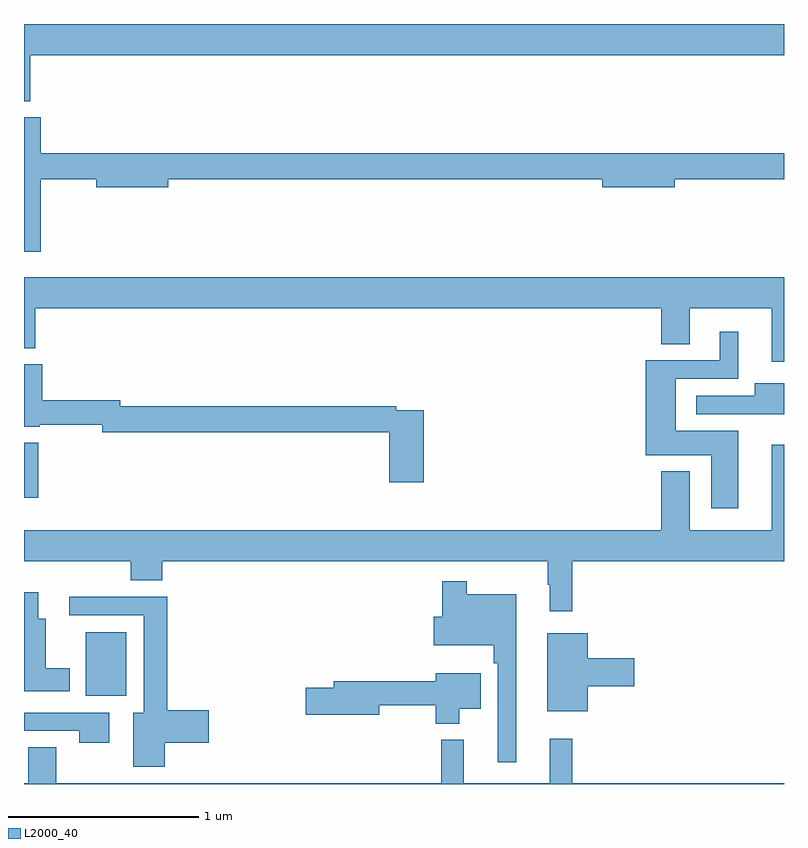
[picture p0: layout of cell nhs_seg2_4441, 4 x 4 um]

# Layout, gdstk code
import gdstk
lib = gdstk.Library(unit=1e-6, precision=1e-09)
def R(c, l, rs):  # rectangles x0, y0, x1, y1
    for r in rs: c.add(gdstk.rectangle(r[:2], r[2:], *l))
def P(c, l, *ps):  # polygons
    for p in ps: c.add(gdstk.Polygon(p, *l))
L2000_40 = (2000, 40)

nhs_seg2_4441 = lib.new_cell('nhs_seg2_4441')
R(nhs_seg2_4441, L2000_40, [(351.326,644.264,351.538,644.599), (351,645.306,351.074,645.595)])
P(nhs_seg2_4441, L2000_40, [(351.032,647.636),(355,647.636),(355,647.8),(351,647.8),(351,647.393),(351.032,647.393)],
  [(351.089,646.984),(351.38,646.984),(351.38,646.942),(351.76,646.942),(351.76,646.984),(354.044,646.984),(354.044,646.942),(354.424,646.942),(354.424,646.984),(355,646.984),(355,647.12),(351.089,647.12),(351.089,647.308),(351,647.308),(351,646.601),(351.089,646.601)],
  [(355,646.468),(351,646.468),(351,646.094),(351.059,646.094),(351.059,646.304),(354.353,646.304),(354.353,646.114),(354.505,646.114),(354.505,646.304),(354.935,646.304),(354.935,646.023),(355,646.023)],
  [(354.76,645.658),(354.43,645.658),(354.43,645.933),(354.76,645.933),(354.76,646.18),(354.662,646.18),(354.662,646.029),(354.272,646.029),(354.272,645.53),(354.617,645.53),(354.617,645.251),(354.76,645.251)],
  [(353.105,645.768),(352.958,645.768),(352.958,645.788),(351.507,645.788),(351.507,645.82),(351.095,645.82),(351.095,646.009),(351,646.009),(351,645.68),(351.082,645.68),(351.082,645.691),(351.411,645.691),(351.411,645.652),(352.922,645.652),(352.922,645.387),(353.105,645.387)],
  [(355,645.91),(354.845,645.91),(354.845,645.843),(354.537,645.843),(354.537,645.747),(354.849,645.747),(354.849,645.746),(355,645.746)],
  [(353.885,644.972),(355,644.972),(355,645.586),(354.935,645.586),(354.935,645.136),(354.505,645.136),(354.505,645.445),(354.353,645.445),(354.353,645.136),(351,645.136),(351,644.972),(351.563,644.972),(351.563,644.873),(351.728,644.873),(351.728,644.972),(353.757,644.972),(353.757,644.849),(353.768,644.849),(353.768,644.709),(353.885,644.709)],
  [(353.59,644.8),(353.329,644.8),(353.329,644.866),(353.2,644.866),(353.2,644.679),(353.156,644.679),(353.156,644.531),(353.473,644.531),(353.473,644.435),(353.493,644.435),(353.493,643.914),(353.59,643.914)],
  [(351.241,644.41),(351.115,644.41),(351.115,644.671),(351.076,644.671),(351.076,644.809),(351,644.809),(351,644.288),(351.241,644.288)],
  [(351.742,644.018),(351.973,644.018),(351.973,644.189),(351.755,644.189),(351.755,644.786),(351.237,644.786),(351.237,644.688),(351.629,644.688),(351.629,644.176),(351.575,644.176),(351.575,643.89),(351.742,643.89)],
  [(353.968,644.315),(354.211,644.315),(354.211,644.462),(353.968,644.462),(353.968,644.593),(353.753,644.593),(353.753,644.183),(353.968,644.183)],
  [(353.29,644.195),(353.404,644.195),(353.404,644.383),(353.168,644.383),(353.168,644.342),(352.631,644.342),(352.631,644.306),(352.482,644.306),(352.482,644.164),(352.87,644.164),(352.87,644.214),(353.168,644.214),(353.168,644.117),(353.29,644.117)],
  [(351.448,644.175),(351,644.175),(351,644.079),(351.292,644.079),(351.292,644.016),(351.448,644.016)],
  [(355,643.804),(353.885,643.804),(353.885,644.038),(353.768,644.038),(353.768,643.804),(353.315,643.804),(353.315,644.032),(353.197,644.032),(353.197,643.804),(351.171,643.804),(351.171,643.994),(351.023,643.994),(351.023,643.804),(351,643.804),(351,643.8),(355,643.8)])

lib.write_gds('nhs_seg2_4441.gds')
